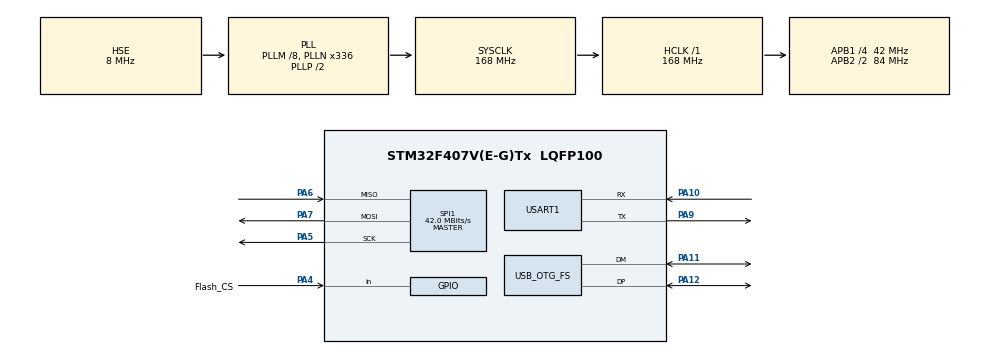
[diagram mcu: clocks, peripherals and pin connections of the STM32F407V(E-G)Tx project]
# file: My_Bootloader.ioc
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IWDG.Prescaler=IWDG_PRESCALER_256
Mcu.Family=STM32F4
Mcu.Name=STM32F407V(E-G)Tx
Mcu.Package=LQFP100
NVIC.OTG_FS_IRQn=true\:0\:0\:false\:false\:true\:false\:true\:true
NVIC.PriorityGroup=NVIC_PRIORITYGROUP_4
NVIC.TIM8_TRG_COM_TIM14_IRQn=true\:0\:0\:false\:false\:true\:true\:true\:true
NVIC.USART1_IRQn=true\:0\:0\:false\:false\:true\:true\:true\:true
PA10.Mode=Asynchronous
PA10.Signal=USART1_RX
PA11.Mode=Device_Only
PA11.Signal=USB_OTG_FS_DM
PA12.Mode=Device_Only
PA12.Signal=USB_OTG_FS_DP
PA13.Mode=Serial_Wire
PA13.Signal=SYS_JTMS-SWDIO
PA14.Mode=Serial_Wire
PA14.Signal=SYS_JTCK-SWCLK
PA4.GPIO_Label=Flash_CS
PA4.Signal=GPIO_Input
PA5.Mode=Full_Duplex_Master
PA5.Signal=SPI1_SCK
PA6.Mode=Full_Duplex_Master
PA6.Signal=SPI1_MISO
PA7.Mode=Full_Duplex_Master
PA7.Signal=SPI1_MOSI
PA9.Mode=Asynchronous
PA9.Signal=USART1_TX
PH0-OSC_IN.Mode=HSE-External-Oscillator
PH0-OSC_IN.Signal=RCC_OSC_IN
PH1-OSC_OUT.Mode=HSE-External-Oscillator
PH1-OSC_OUT.Signal=RCC_OSC_OUT
ProjectManager.HeapSize=0x200
ProjectManager.StackSize=0x400
ProjectManager.TargetToolchain=MDK-ARM V5.32
RCC.48MHZClocksFreq_Value=48000000
RCC.AHBFreq_Value=168000000
RCC.APB1CLKDivider=RCC_HCLK_DIV4
RCC.APB1Freq_Value=42000000
RCC.APB1TimFreq_Value=84000000
RCC.APB2CLKDivider=RCC_HCLK_DIV2
RCC.APB2Freq_Value=84000000
RCC.APB2TimFreq_Value=168000000
RCC.CortexFreq_Value=168000000
RCC.HCLKFreq_Value=168000000
RCC.HSE_VALUE=8000000
RCC.HSI_VALUE=16000000
RCC.LSE_VALUE=32768
RCC.PLLM=8
RCC.PLLN=336
RCC.PLLQ=7
RCC.SYSCLKFreq_VALUE=168000000
RCC.SYSCLKSource=RCC_SYSCLKSOURCE_PLLCLK
RCC.VCOOutputFreq_Value=336000000
SPI1.CLKPhase=SPI_PHASE_2EDGE
SPI1.CLKPolarity=SPI_POLARITY_HIGH
SPI1.CalculateBaudRate=42.0 MBits/s
SPI1.Direction=SPI_DIRECTION_2LINES
SPI1.Mode=SPI_MODE_MASTER
SPI1.VirtualType=VM_MASTER
TIM14.Period=9
TIM14.Prescaler=8400 - 1
USART1.VirtualMode=VM_ASYNC
USB_DEVICE.CLASS_NAME_FS=CDC
USB_DEVICE.VirtualMode-CDC_FS=Cdc
USB_DEVICE.VirtualModeFS=Cdc_FS
USB_OTG_FS.VirtualMode=Device_Only
VP_IWDG_VS_IWDG.Mode=IWDG_Activate
VP_TIM14_VS_ClockSourceINT.Mode=Enable_Timer
VP_USB_DEVICE_VS_USB_DEVICE_CDC_FS.Mode=CDC_FS
board=custom

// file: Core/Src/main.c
/* USER CODE BEGIN Header */
/* USER CODE END Header */
#include "main.h"
#include "iwdg.h"
#include "spi.h"
#include "tim.h"
#include "usart.h"
#include "usb_device.h"
#include "gpio.h"

/* USER CODE BEGIN Includes */
#include "Bootloader.h"
/* USER CODE END Includes */

void SystemClock_Config(void);

int main(void)
{

  /* MCU Configuration--------------------------------------------------------*/

  /* Reset of all peripherals, Initializes the Flash interface and the Systick. */
  HAL_Init();

  /* Configure the system clock */
  SystemClock_Config();

  /* Initialize all configured peripherals */
  MX_GPIO_Init();
  MX_USART1_UART_Init();
  MX_USB_DEVICE_Init();
  MX_IWDG_Init();
  MX_SPI1_Init();
  MX_TIM14_Init();
  /* USER CODE BEGIN 2 */
  ResetAll();
  /* USER CODE END 2 */

  /* Infinite loop */
  /* USER CODE BEGIN WHILE */
  HAL_TIM_Base_Start_IT(&htim14);
    /* USER CODE END WHILE */

    /* USER CODE BEGIN 3 */
    while(1){
      FeedIwdg();

      if(BootloaderState.StartMode==AllBootloaderStartModes.Start_Invalid){

        CDC_Transmit_FS("Waiting Start Mode...\r\n",23);
        HAL_UART_Transmit(&huart1,(uint8_t*)"Waiting Start Mode...\r\n",23,100 );

        if(TimerCounter_ms>15000){

          BootloaderState.RunState=AllBootloaderRunStates.Run_Prepare_To_Jump_To_A;
          Send_BootloaderPacket(AllCMDs.Cmd_Update_State,AllBootloaderRunStates.Run_Prepare_To_Jump_To_A,NULL);
          JumpToApplication();
        }
      }

      else if(BootloaderState.StartMode==AllBootloaderStartModes.Start_Dirrectly_Jump_To_A){

        BootloaderState.RunState=AllBootloaderRunStates.Run_Prepare_To_Jump_To_A;
        Send_BootloaderPacket(AllCMDs.Cmd_Update_State,AllBootloaderRunStates.Run_Prepare_To_Jump_To_A,NULL);
        JumpToApplication();
      }

      else if(BootloaderState.StartMode==AllBootloaderStartModes.Start_CopyB_To_A_Jump_To_A){

        BootloaderState.RunState=AllBootloaderRunStates.Run_Copy_B_To_A;
        Send_BootloaderPacket(AllCMDs.Cmd_Update_State,AllBootloaderRunStates.Run_Copy_B_To_A,NULL);
        if(CopyBtoA()!=HAL_OK){
          Send_BootloaderPacket(AllCMDs.AllERRORs->ERROR_Copy_B_To_A,AllBootloaderRunStates.Run_Invalid,NULL);
        }
        JumpToApplication();
      }

      else if(BootloaderState.StartMode==AllBootloaderStartModes.Start_Updata_A){

        if(BootloaderState.RunState==AllBootloaderRunStates.Run_Flash_Erasure){

            FeedIwdg();

            if(FlashErase(APP_A_START_ADDR,total_size_to_receive)!=HAL_OK){

            Send_BootloaderPacket(AllCMDs.AllERRORs->ERROR_Flash_Erasure,AllBootloaderRunStates.Run_Invalid,NULL);

          }
          else{

            TimerCounter_ms = 0;

            Send_BootloaderPacket(AllCMDs.Cmd_ACK,AllBootloaderRunStates.Run_Invalid,NULL);
            BootloaderState.RunState=AllBootloaderRunStates.Run_Receiving_Bin;
          }

        }
        else if(BootloaderState.RunState==AllBootloaderRunStates.Run_Flash_Write){

            HAL_StatusTypeDef status = Download_Flash(data_buffer_offset);
            if(status==HAL_OK){
                BootloaderState.RunState=AllBootloaderRunStates.Run_Receiving_Bin;

                Send_BootloaderPacket(AllCMDs.Cmd_ACK,AllBootloaderRunStates.Run_Invalid,NULL);

                FeedIwdg();

                TimerCounter_ms = 0;
            }
            else{
                Send_BootloaderPacket(AllCMDs.AllERRORs->ERROR_Flash_Download,AllBootloaderRunStates.Run_Invalid,NULL);
            }

        }
        if(BootloaderState.RunState==AllBootloaderRunStates.Run_Receiving_Bin){

        uint32_t pending_size = total_written_data_size + data_buffer_offset;

        if( (pending_size >= total_size_to_receive && total_size_to_receive > 0) || (TimerCounter_ms > 15000) ){

          if(data_buffer_offset!=0){

              BootloaderState.RunState=AllBootloaderRunStates.Run_Flash_Write;
              if(Download_Flash(data_buffer_offset)==HAL_OK){

                  if (total_written_data_size >= total_size_to_receive) {
                      BootloaderState.RunState=AllBootloaderRunStates.Run_Prepare_To_Jump_To_A;
                  }
                  Send_BootloaderPacket(AllCMDs.Cmd_ACK,AllBootloaderRunStates.Run_Invalid,NULL);

                  FeedIwdg();
                  TimerCounter_ms = 0;
              }
              else{
                Send_BootloaderPacket(AllCMDs.AllERRORs->ERROR_Flash_Download,AllBootloaderRunStates.Run_Invalid,NULL);
                BootloaderErrorInterFunc();
              }
          }

          if (total_written_data_size >= total_size_to_receive && total_size_to_receive > 0) {

              print_uint32_with_label("Total Written", total_written_data_size);
              print_uint32_with_label("Expected Size", total_size_to_receive);

              calculated_crc_value = CalculateCRC32((const uint8_t*)APP_A_START_ADDR, total_written_data_size);
              print_uint32_with_label("Recv CRC", expected_crc_value);
              print_uint32_with_label("Calc CRC", calculated_crc_value);

              if(calculated_crc_value != expected_crc_value) {

                  uint8_t crc_data[4];
                  crc_data[0] = expected_crc_value & 0xFF;
                  crc_data[1] = (expected_crc_value >> 8) & 0xFF;
                  crc_data[2] = (expected_crc_value >> 16) & 0xFF;
                  crc_data[3] = (expected_crc_value >> 24) & 0xFF;
                  Send_BootloaderPacket(AllCMDs.AllERRORs->ERROR_CRC,AllBootloaderRunStates.Run_Invalid,crc_data);
                  HAL_UART_Transmit(&huart1,(uint8_t*)"[ERROR] CRC Mismatch!\r\n",23,100);

              } else {

                  BootloaderState.RunState=AllBootloaderRunStates.Run_Prepare_To_Jump_To_A;
                  Send_BootloaderPacket(AllCMDs.Cmd_Update_State,AllBootloaderRunStates.Run_Prepare_To_Jump_To_A,NULL);
                  print_uint32_with_label("total write size",total_written_data_size);
                  JumpToApplication();
              }
          }
          else if (TimerCounter_ms > 15000 && total_size_to_receive > 0) {

               print_uint32_with_label("[TIMEOUT] TimerCounter", TimerCounter_ms);
               print_uint32_with_label("[TIMEOUT] Total Written", total_written_data_size);
               print_uint32_with_label("[TIMEOUT] Expected", total_size_to_receive);

              HAL_UART_Transmit(&huart1,(uint8_t*)"[ERROR] Timeout Incomplete!\r\n",29,100);

          }

        }
      }

    }
  /* USER CODE END 3 */
}

void SystemClock_Config(void)
{
  RCC_OscInitTypeDef RCC_OscInitStruct = {0};
  RCC_ClkInitTypeDef RCC_ClkInitStruct = {0};

  /** Configure the main internal regulator output voltage
  */
  __HAL_RCC_PWR_CLK_ENABLE();
  __HAL_PWR_VOLTAGESCALING_CONFIG(PWR_REGULATOR_VOLTAGE_SCALE1);

  /** Initializes the RCC Oscillators according to the specified parameters
  * in the RCC_OscInitTypeDef structure.
  */
  RCC_OscInitStruct.OscillatorType = RCC_OSCILLATORTYPE_LSI|RCC_OSCILLATORTYPE_HSE;
  RCC_OscInitStruct.HSEState = RCC_HSE_ON;
  RCC_OscInitStruct.LSIState = RCC_LSI_ON;
  RCC_OscInitStruct.PLL.PLLState = RCC_PLL_ON;
  RCC_OscInitStruct.PLL.PLLSource = RCC_PLLSOURCE_HSE;
  RCC_OscInitStruct.PLL.PLLM = 8;
  RCC_OscInitStruct.PLL.PLLN = 336;
  RCC_OscInitStruct.PLL.PLLP = RCC_PLLP_DIV2;
  RCC_OscInitStruct.PLL.PLLQ = 7;
  if (HAL_RCC_OscConfig(&RCC_OscInitStruct) != HAL_OK)
  {
    Error_Handler();
  }

  /** Initializes the CPU, AHB and APB buses clocks
  */
  RCC_ClkInitStruct.ClockType = RCC_CLOCKTYPE_HCLK|RCC_CLOCKTYPE_SYSCLK
                              |RCC_CLOCKTYPE_PCLK1|RCC_CLOCKTYPE_PCLK2;
  RCC_ClkInitStruct.SYSCLKSource = RCC_SYSCLKSOURCE_PLLCLK;
  RCC_ClkInitStruct.AHBCLKDivider = RCC_SYSCLK_DIV1;
  RCC_ClkInitStruct.APB1CLKDivider = RCC_HCLK_DIV4;
  RCC_ClkInitStruct.APB2CLKDivider = RCC_HCLK_DIV2;

  if (HAL_RCC_ClockConfig(&RCC_ClkInitStruct, FLASH_LATENCY_5) != HAL_OK)
  {
    Error_Handler();
  }
}

void Error_Handler(void)
{
}
